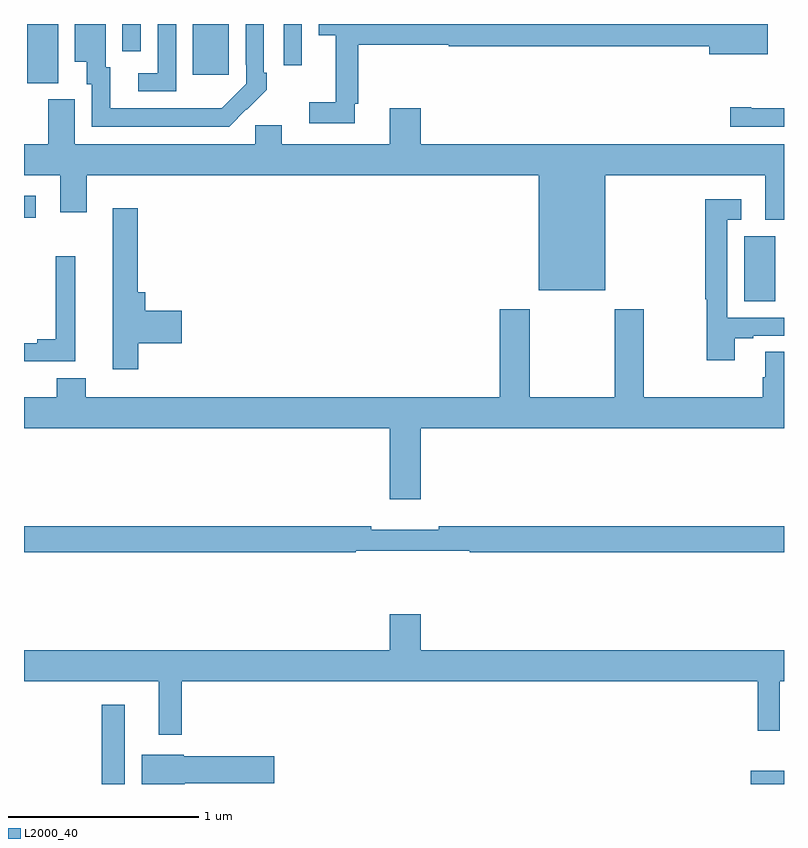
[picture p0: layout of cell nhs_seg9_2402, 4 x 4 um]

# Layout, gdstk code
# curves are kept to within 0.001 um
import gdstk
lib = gdstk.Library(unit=1e-6, precision=1e-09)
def R(c, l, rs):  # rectangles x0, y0, x1, y1
    for r in rs: c.add(gdstk.rectangle(r[:2], r[2:], *l))
def P(c, l, *ps):  # polygons
    for p in ps: c.add(gdstk.Polygon(p, *l))
L2000_40 = (2000, 40)

nhs_seg9_2402 = lib.new_cell('nhs_seg9_2402')
R(nhs_seg9_2402, L2000_40, [(247.41,1242.5,247.531,1242.916), (250.824,1242.5,251,1242.571), (250.79,1245.04,250.954,1245.384), (247,1245.481,247.063,1245.597), (247.016,1246.189,247.18,1246.5), (247.889,1246.233,248.077,1246.5), (248.367,1246.284,248.463,1246.5), (247.518,1246.356,247.614,1246.5)])
P(nhs_seg9_2402, L2000_40, [(248.171,1246.051),(248.172,1246.05),(248.277,1246.155),(248.277,1246.243),(248.262,1246.243),(248.262,1246.5),(248.166,1246.5),(248.166,1246.285),(248.169,1246.285),(248.169,1246.185),(248.041,1246.057),(247.937,1246.056),(247.453,1246.056),(247.453,1246.272),(247.429,1246.272),(247.429,1246.498),(247.268,1246.498),(247.268,1246.301),(247.331,1246.301),(247.331,1246.182),(247.356,1246.182),(247.356,1245.96),(248.08,1245.96)],
  [(248.741,1246.081),(248.759,1246.081),(248.759,1246.392),(249.236,1246.392),(249.236,1246.384),(250.607,1246.384),(250.607,1246.34),(250.915,1246.34),(250.915,1246.5),(248.552,1246.5),(248.552,1246.442),(248.642,1246.442),(248.642,1246.087),(248.502,1246.087),(248.502,1245.978),(248.741,1245.978)],
  [(247.8,1246.5),(247.704,1246.5),(247.704,1246.242),(247.602,1246.242),(247.602,1246.146),(247.8,1246.146)],
  [(250.06,1245.704),(250.901,1245.704),(250.901,1245.469),(251,1245.469),(251,1245.868),(249.088,1245.868),(249.088,1246.057),(248.924,1246.057),(248.924,1245.868),(248.356,1245.868),(248.356,1245.966),(248.217,1245.966),(248.217,1245.868),(247.267,1245.868),(247.267,1246.104),(247.127,1246.104),(247.127,1245.868),(247,1245.868),(247,1245.704),(247.19,1245.704),(247.19,1245.51),(247.33,1245.51),(247.33,1245.704),(249.71,1245.704),(249.71,1245.098),(250.06,1245.098)],
  [(251,1246.056),(250.828,1246.056),(250.828,1246.061),(250.716,1246.061),(250.716,1245.96),(251,1245.96)],
  [(250.741,1244.847),(250.837,1244.847),(250.837,1244.859),(251,1244.859),(251,1244.955),(250.701,1244.955),(250.701,1245.471),(250.774,1245.471),(250.774,1245.577),(250.585,1245.577),(250.585,1245.052),(250.593,1245.052),(250.593,1244.73),(250.741,1244.73)],
  [(247.601,1244.819),(247.831,1244.819),(247.831,1244.99),(247.637,1244.99),(247.637,1245.088),(247.598,1245.088),(247.598,1245.529),(247.466,1245.529),(247.466,1244.682),(247.601,1244.682)],
  [(247.27,1245.277),(247.166,1245.277),(247.166,1244.84),(247.07,1244.84),(247.07,1244.82),(247,1244.82),(247,1244.724),(247.27,1244.724)],
  [(249.088,1244.372),(251,1244.372),(251,1244.774),(250.901,1244.774),(250.901,1244.642),(250.889,1244.642),(250.889,1244.536),(250.263,1244.536),(250.263,1244.998),(250.108,1244.998),(250.108,1244.536),(249.663,1244.536),(249.663,1244.998),(249.503,1244.998),(249.503,1244.536),(247.325,1244.536),(247.325,1244.635),(247.172,1244.635),(247.172,1244.536),(247,1244.536),(247,1244.372),(248.924,1244.372),(248.924,1243.998),(249.088,1243.998)],
  [(248.745,1243.728),(249.345,1243.728),(249.345,1243.72),(251,1243.72),(251,1243.856),(249.184,1243.856),(249.184,1243.837),(248.828,1243.837),(248.828,1243.856),(247,1243.856),(247,1243.72),(248.745,1243.72)],
  [(247.831,1243.04),(250.861,1243.04),(250.861,1242.78),(250.977,1242.78),(250.977,1243.04),(251,1243.04),(251,1243.204),(249.088,1243.204),(249.088,1243.393),(248.924,1243.393),(248.924,1243.204),(247,1243.204),(247,1243.04),(247.709,1243.04),(247.709,1242.759),(247.831,1242.759)],
  [(247.846,1242.503),(248.317,1242.503),(248.317,1242.645),(247.842,1242.645),(247.842,1242.655),(247.619,1242.655),(247.619,1242.5),(247.846,1242.5)])

lib.write_gds('nhs_seg9_2402.gds')
